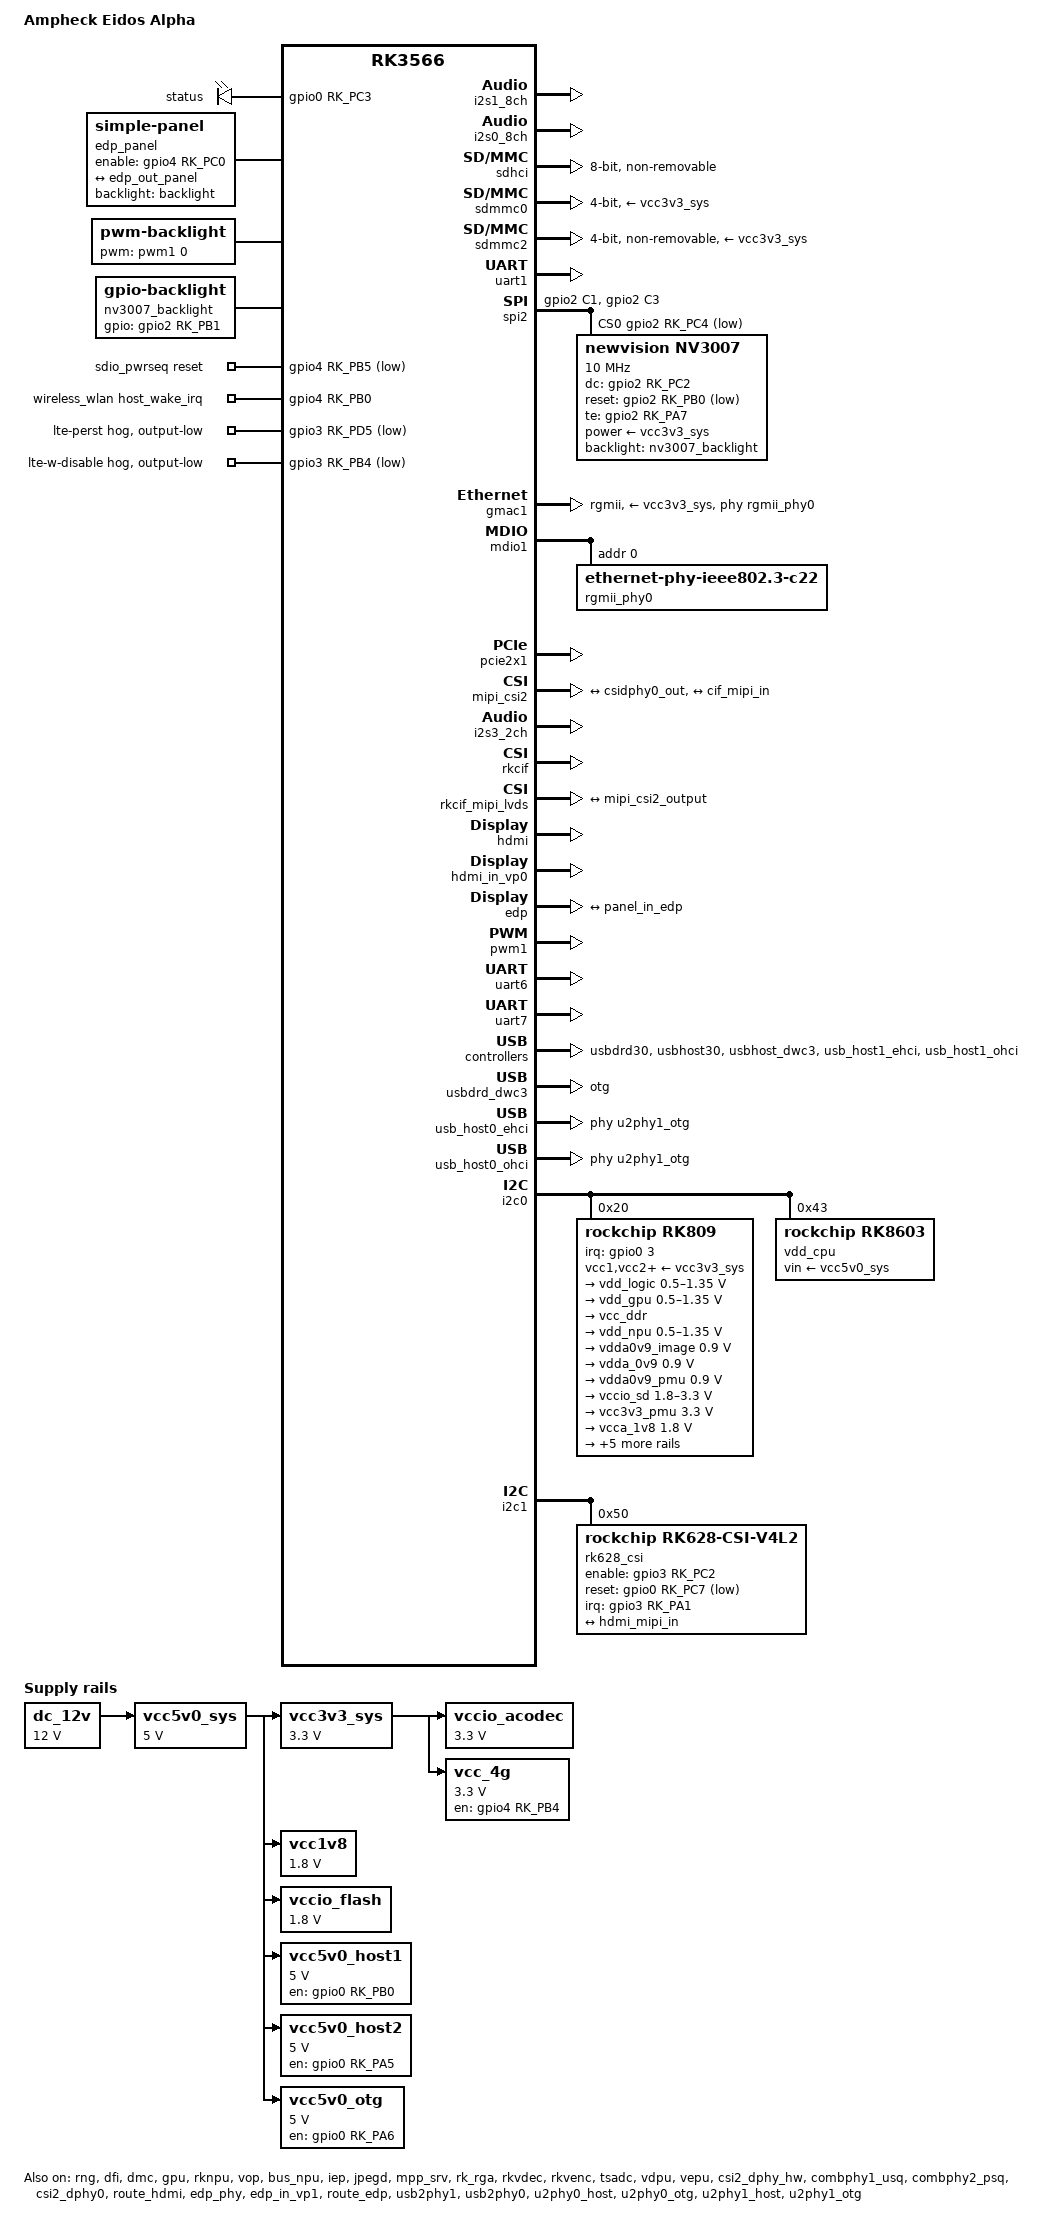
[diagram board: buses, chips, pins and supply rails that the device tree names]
/dts-v1/;

#include <dt-bindings/gpio/gpio.h>
#include <dt-bindings/display/rockchip_vop.h>
#include "rk3566.dtsi"

/ {
	model = "Ampheck Eidos Alpha";
	compatible = "ampheck,eidos-alpha", "rockchip,rk3566";

	leds {
		compatible = "gpio-leds";

		status_led: status-led {
			label = "status";
			gpios = <&gpio0 RK_PC3 GPIO_ACTIVE_HIGH>;
			default-state = "off";
		};
	};

	edp_panel: edp-panel {
		compatible = "simple-panel";
		backlight = <&backlight>;
		enable-gpios = <&gpio4 RK_PC0 GPIO_ACTIVE_HIGH>;
		prepare-delay-ms = <120>;
		enable-delay-ms = <120>;
		unprepare-delay-ms = <120>;
		disable-delay-ms = <120>;
		pinctrl-names = "default";
		pinctrl-0 = <&edp_en_gpio>;

		display-timings {
			native-mode = <&edp_timing0>;

			edp_timing0: timing0 {
				clock-frequency = <149600000>;
				hactive = <1920>;
				vactive = <1080>;
				hfront-porch = <48>;
				hback-porch = <187>;
				hsync-len = <32>;
				vfront-porch = <3>;
				vback-porch = <52>;
				vsync-len = <5>;
				hsync-active = <0>;
				vsync-active = <0>;
				de-active = <1>;
				pixelclk-active = <0>;
			};
		};

		ports {
			#address-cells = <1>;
			#size-cells = <0>;

			port@0 {
				reg = <0>;

				panel_in_edp: endpoint {
					remote-endpoint = <&edp_out_panel>;
				};
			};
		};
	};

	backlight: backlight {
		compatible = "pwm-backlight";
		pwms = <&pwm1 0 25000 0>;
		brightness-levels = <
			  0  20  20  21  21  22  22  23
			 23  24  24  25  25  26  26  27
			 27  28  28  29  29  30  30  31
			 31  32  32  33  33  34  34  35
			 35  36  36  37  37  38  38  39
			 40  41  42  43  44  45  46  47
			 48  49  50  51  52  53  54  55
			 56  57  58  59  60  61  62  63
			 64  65  66  67  68  69  70  71
			 72  73  74  75  76  77  78  79
			 80  81  82  83  84  85  86  87
			 88  89  90  91  92  93  94  95
			 96  97  98  99 100 101 102 103
			104 105 106 107 108 109 110 111
			112 113 114 115 116 117 118 119
			120 121 122 123 124 125 126 127
			128 129 130 131 132 133 134 135
			136 137 138 139 140 141 142 143
			144 145 146 147 148 149 150 151
			152 153 154 155 156 157 158 159
			160 161 162 163 164 165 166 167
			168 169 170 171 172 173 174 175
			176 177 178 179 180 181 182 183
			184 185 186 187 188 189 190 191
			192 193 194 195 196 197 198 199
			200 201 202 203 204 205 206 207
			208 209 210 211 212 213 214 215
			216 217 218 219 220 221 222 223
			224 225 226 227 228 229 230 231
			232 233 234 235 236 237 238 239
			240 241 242 243 244 245 246 247
			248 249 250 251 252 253 254 255
		>;
		default-brightness-level = <200>;
	};

	nv3007_backlight: nv3007-backlight {
		compatible = "gpio-backlight";
		gpios = <&gpio2 RK_PB1 GPIO_ACTIVE_HIGH>;
		default-on;
		pinctrl-names = "default";
		pinctrl-0 = <&backlight_en>;
	};

	rk628_dc: rk628-dc {
		compatible = "rockchip,dummy-codec";
		#sound-dai-cells = <0>;
		status = "okay";
	};

	hdmin_sound: hdmin-sound {
		compatible = "simple-audio-card";
		simple-audio-card,format = "i2s";
		simple-audio-card,name = "rockchip,hdmin";
		simple-audio-card,bitclock-master = <&dailink0_master>;
		simple-audio-card,frame-master = <&dailink0_master>;
		status = "okay";

		simple-audio-card,cpu {
			sound-dai = <&i2s3_2ch>;
		};

		dailink0_master: simple-audio-card,codec {
			sound-dai = <&rk628_dc>;
		};
	};

	hdmi_sound: hdmi-sound {
		compatible = "simple-audio-card";
		simple-audio-card,format = "i2s";
		simple-audio-card,mclk-fs = <128>;
		simple-audio-card,name = "rockchip,hdmi";
		status = "okay";

		simple-audio-card,cpu {
			sound-dai = <&i2s0_8ch>;
		};

		simple-audio-card,codec {
			sound-dai = <&hdmi>;
		};
	};

	sdio_pwrseq: sdio-pwrseq {
		compatible = "mmc-pwrseq-simple";
		clocks = <&rk809 1>;
		clock-names = "ext_clock";
		post-power-on-delay-ms = <200>;
		reset-gpios = <&gpio4 RK_PB5 GPIO_ACTIVE_LOW>;
	};

	wireless_wlan: wireless-wlan {
		compatible = "wlan-platdata";
		rockchip,grf = <&grf>;
		wifi_chip_type = "ap6256";
		pinctrl-names = "default";
		pinctrl-0 = <&wifi_host_wake_irq>;
		WIFI,host_wake_irq = <&gpio4 RK_PB0 GPIO_ACTIVE_HIGH>;
		status = "okay";
	};

	wireless_bluetooth: wireless-bluetooth {
		compatible = "brcm,bcm43430a1-bt";
		clocks = <&rk809 1>;
		clock-names = "ext_clock";
		bt_port = "/dev/ttyS1";
		uart_rts_gpios = <&gpio4 RK_PB6 GPIO_ACTIVE_LOW>;
		pinctrl-names = "default", "rts_gpio";
		pinctrl-0 = <&uart1m1_rtsn>;
		pinctrl-1 = <&uart1_gpios>;
		BT,reset_gpio = <&gpio4 RK_PA6 GPIO_ACTIVE_HIGH>;
		BT,wake_gpio = <&gpio4 RK_PA2 GPIO_ACTIVE_HIGH>;
		BT,wake_host_irq = <&gpio4 RK_PA3 GPIO_ACTIVE_HIGH>;
		status = "disabled";
	};

	chosen {
		stdout-path = "serial2:1500000n8";
		bootargs = "earlycon=uart8250,mmio32,0xfe660000 console=ttyFIQ0,1500000n8 root=PARTUUID=614e0000-0000-4b53-8000-1d28000054a9 rootfstype=ext4 rw rootwait efi=noruntime";
	};

	fiq_debugger: fiq-debugger {
		compatible = "rockchip,fiq-debugger";
		rockchip,serial-id = <2>;
		rockchip,wake-irq = <0>;
		rockchip,irq-mode-enable = <1>;
		rockchip,baudrate = <1500000>;
		interrupts = <GIC_SPI 252 IRQ_TYPE_LEVEL_LOW>;
		pinctrl-names = "default";
		pinctrl-0 = <&uart2m0_xfer>;
		status = "okay";
	};

	debug: debug@fd904000 {
		compatible = "rockchip,debug";
		reg = <0x0 0xfd904000 0x0 0x1000>,
		      <0x0 0xfd905000 0x0 0x1000>,
		      <0x0 0xfd906000 0x0 0x1000>,
		      <0x0 0xfd907000 0x0 0x1000>;
	};

	cspmu: cspmu@fd90c000 {
		compatible = "rockchip,cspmu";
		reg = <0x0 0xfd90c000 0x0 0x1000>,
		      <0x0 0xfd90d000 0x0 0x1000>,
		      <0x0 0xfd90e000 0x0 0x1000>,
		      <0x0 0xfd90f000 0x0 0x1000>;
	};

	dc_12v: dc-12v {
		compatible = "regulator-fixed";
		regulator-name = "dc_12v";
		regulator-min-microvolt = <12000000>;
		regulator-max-microvolt = <12000000>;
		regulator-always-on;
		regulator-boot-on;
	};

	vcc5v0_sys: vcc5v0-sys {
		compatible = "regulator-fixed";
		regulator-name = "vcc5v0_sys";
		regulator-min-microvolt = <5000000>;
		regulator-max-microvolt = <5000000>;
		regulator-always-on;
		regulator-boot-on;
		vin-supply = <&dc_12v>;
	};

	vcc3v3_sys: vcc3v3-sys {
		compatible = "regulator-fixed";
		regulator-name = "vcc3v3_sys";
		regulator-min-microvolt = <3300000>;
		regulator-max-microvolt = <3300000>;
		regulator-always-on;
		regulator-boot-on;
		vin-supply = <&vcc5v0_sys>;
	};

	vcc1v8: vcc1v8 {
		compatible = "regulator-fixed";
		regulator-name = "vcc1v8";
		regulator-min-microvolt = <1800000>;
		regulator-max-microvolt = <1800000>;
		regulator-always-on;
		regulator-boot-on;
		vin-supply = <&vcc5v0_sys>;
	};

	vccio_acodec: vccio-acodec {
		compatible = "regulator-fixed";
		regulator-name = "vccio_acodec";
		regulator-min-microvolt = <3300000>;
		regulator-max-microvolt = <3300000>;
		regulator-always-on;
		regulator-boot-on;
		vin-supply = <&vcc3v3_sys>;
	};

	vccio_flash: vccio-flash {
		compatible = "regulator-fixed";
		regulator-name = "vccio_flash";
		regulator-min-microvolt = <1800000>;
		regulator-max-microvolt = <1800000>;
		regulator-always-on;
		regulator-boot-on;
		vin-supply = <&vcc5v0_sys>;
	};

	vcc5v0_host1: vcc5v0-host1 {
		compatible = "regulator-fixed";
		regulator-name = "vcc5v0_host1";
		regulator-min-microvolt = <5000000>;
		regulator-max-microvolt = <5000000>;
		regulator-boot-on;
		enable-active-high;
		gpio = <&gpio0 RK_PB0 GPIO_ACTIVE_HIGH>;
		vin-supply = <&vcc5v0_sys>;
		pinctrl-names = "default";
		pinctrl-0 = <&host1_pwr_en>;
	};

	vcc5v0_host2: vcc5v0-host2 {
		compatible = "regulator-fixed";
		regulator-name = "vcc5v0_host2";
		regulator-min-microvolt = <5000000>;
		regulator-max-microvolt = <5000000>;
		regulator-boot-on;
		enable-active-high;
		gpio = <&gpio0 RK_PA5 GPIO_ACTIVE_HIGH>;
		vin-supply = <&vcc5v0_sys>;
		pinctrl-names = "default";
		pinctrl-0 = <&host2_pwr_en>;
	};

	vcc5v0_otg: vcc5v0-otg {
		compatible = "regulator-fixed";
		regulator-name = "vcc5v0_otg";
		regulator-min-microvolt = <5000000>;
		regulator-max-microvolt = <5000000>;
		enable-active-high;
		gpio = <&gpio0 RK_PA6 GPIO_ACTIVE_HIGH>;
		vin-supply = <&vcc5v0_sys>;
		pinctrl-names = "default";
		pinctrl-0 = <&otg_pwr_en>;
	};

	/* EC20/4G module slot power enable, GPIO4_B4 active high. */
	vcc_4g: vcc-4g {
		compatible = "regulator-fixed";
		regulator-name = "vcc_4g";
		regulator-min-microvolt = <3300000>;
		regulator-max-microvolt = <3300000>;
		regulator-always-on;
		regulator-boot-on;
		startup-delay-us = <500000>;
		gpio = <&gpio4 RK_PB4 GPIO_ACTIVE_HIGH>;
		enable-active-high;
		vin-supply = <&vcc3v3_sys>;
		pinctrl-names = "default";
		pinctrl-0 = <&lte_pwr_en>;
	};

	rk809_sound: rk809-sound {
		compatible = "simple-audio-card";
		simple-audio-card,name = "rockchip-rk809";
		simple-audio-card,format = "i2s";
		simple-audio-card,mclk-fs = <256>;

		simple-audio-card,cpu {
			sound-dai = <&i2s1_8ch>;
		};

		simple-audio-card,codec {
			sound-dai = <&rk809_codec>;
		};
	};
};

/* Console and audio. */
&uart2 {
	/* UART2 is owned by the FIQ debugger. */
	status = "disabled";
};

&i2s1_8ch {
	status = "okay";
	rockchip,clk-trcm = <1>;
	pinctrl-names = "default";
	pinctrl-0 = <&i2s1m0_sclktx>, <&i2s1m0_lrcktx>,
			     <&i2s1m0_sdi0>, <&i2s1m0_sdo0>;
};

&i2s0_8ch {
	status = "okay";
};

&rng {
	status = "okay";
};

&dfi {
	status = "okay";
};

&dmc {
	center-supply = <&vdd_logic>;
	status = "okay";
};

&gpu {
	mali-supply = <&vdd_gpu>;
	status = "okay";
};

&gpu_power_model {
	compatible = "simple-power-model", "arm,mali-simple-power-model";
};

&rknpu {
	rknpu-supply = <&vdd_npu>;
	interrupt-names = "npu_irq";
	status = "okay";
};

/*
 * RK3566 has no independently controllable NPU IOMMU power/interrupt in
 * the RK3568 PM domain map.  Open the MMU node only on SoCs that provide it.
 */
&rknpu_mmu {
	status = "disabled";
};

&rockchip_suspend {
	status = "okay";
};

/* SoC, power and display pipeline. */
&vop {
	status = "okay";
	assigned-clocks = <&cru DCLK_VOP0>, <&cru DCLK_VOP1>;
	assigned-clock-parents = <&pmucru PLL_HPLL>, <&cru PLL_VPLL>;
};


&vop_mmu {
	status = "okay";
};

&vp0 {
	rockchip,plane-mask = <(1 << ROCKCHIP_VOP2_CLUSTER0 |
				1 << ROCKCHIP_VOP2_ESMART0 |
				1 << ROCKCHIP_VOP2_SMART0)>;
	rockchip,primary-plane = <ROCKCHIP_VOP2_SMART0>;
	cursor-win-id = <ROCKCHIP_VOP2_CLUSTER0>;
};

&vp1 {
	rockchip,plane-mask = <(1 << ROCKCHIP_VOP2_CLUSTER1 |
				1 << ROCKCHIP_VOP2_ESMART1 |
				1 << ROCKCHIP_VOP2_SMART1)>;
	rockchip,primary-plane = <ROCKCHIP_VOP2_SMART1>;
	cursor-win-id = <ROCKCHIP_VOP2_CLUSTER1>;
};

&bus_npu {
	bus-supply = <&vdd_npu>;
	pvtm-supply = <&vdd_cpu>;
	status = "okay";
};

&sdhci {
	/* The system rootfs is stored on the onboard eMMC. */
	pinctrl-names = "default";
	pinctrl-0 = <&emmc_bus8>, <&emmc_clk>, <&emmc_cmd>;
	bus-width = <8>;
	no-sdio;
	no-sd;
	non-removable;
	mmc-hs200-1_8v;
	status = "okay";
};

/* Image and video accelerators. */
&iep {
	status = "okay";
};

&iep_mmu {
	status = "okay";
};

&jpegd {
	status = "okay";
};

&jpegd_mmu {
	status = "okay";
};

&mpp_srv {
	status = "okay";
};

&rk_rga {
	status = "okay";
};

&rkvdec {
	status = "okay";
};

&rkvdec_mmu {
	status = "okay";
};

&rkvenc {
	venc-supply = <&vdd_logic>;
	status = "okay";
};

&rkvenc_mmu {
	status = "okay";
};

/* Thermal monitoring. */
&tsadc {
	status = "okay";
};

&vdpu {
	status = "okay";
};

&vdpu_mmu {
	status = "okay";
};

&vepu {
	status = "okay";
};

&vepu_mmu {
	status = "okay";
};

&sdmmc0 {
	bus-width = <4>;
	cap-sd-highspeed;
	disable-wp;
	pinctrl-names = "default";
	pinctrl-0 = <&sdmmc0_bus4>, <&sdmmc0_clk>, <&sdmmc0_cmd>,
			     <&sdmmc0_det>;
	vmmc-supply = <&vcc3v3_sys>;
	status = "okay";
};

/* AP6256 Wi-Fi is connected through the SDIO2 interface. */
&sdmmc2 {
	mmc-pwrseq = <&sdio_pwrseq>;
	max-frequency = <150000000>;
	no-sd;
	no-mmc;
	bus-width = <4>;
	disable-wp;
	cap-sdio-irq;
	keep-power-in-suspend;
	non-removable;
	sd-uhs-sdr104;
	pinctrl-names = "default";
	pinctrl-0 = <&sdmmc2m0_bus4 &sdmmc2m0_cmd &sdmmc2m0_clk>;
	vmmc-supply = <&vcc3v3_sys>;
	vqmmc-supply = <&vccio_sd>;
	status = "okay";
};

&uart1 {
	pinctrl-names = "default";
	pinctrl-0 = <&uart1m1_xfer &uart1m1_ctsn &uart1m1_rtsn>;
	uart-has-rtscts;
	status = "okay";
};

&uart9 {
	status = "disabled";
};

&i2c4 {
	status = "disabled";
};

/*
 * Both EC20 control signals are active low. Drive them physically high to
 * release PERST# and keep the module enabled through W_DISABLE#.
 */
&gpio3 {
	lte_perst_hog: lte-perst-hog {
		gpio-hog;
		gpios = <RK_PD5 GPIO_ACTIVE_LOW>;
		output-low;
		line-name = "lte-perst";
	};

	lte_w_disable_hog: lte-w-disable-hog {
		gpio-hog;
		gpios = <RK_PB4 GPIO_ACTIVE_LOW>;
		output-low;
		line-name = "lte-w-disable";
	};
};

&spi2 {
	num-cs = <1>;
	cs-gpios = <&gpio2 RK_PC4 GPIO_ACTIVE_LOW>;
	pinctrl-names = "default", "high_speed";
	pinctrl-0 = <&spi2m0_display_pins>;
	pinctrl-1 = <&spi2m0_display_pins_hs>;
	status = "okay";

	nv3007: panel@0 {
		compatible = "newvision,nv3007";
		reg = <0>;
		spi-max-frequency = <10000000>;
		spi-cpol;
		spi-cpha;
		dc-gpios = <&gpio2 RK_PC2 GPIO_ACTIVE_HIGH>;
		reset-gpios = <&gpio2 RK_PB0 GPIO_ACTIVE_LOW>;
		te-gpios = <&gpio2 RK_PA7 GPIO_ACTIVE_HIGH>;
		backlight = <&nv3007_backlight>;
		power-supply = <&vcc3v3_sys>;
		pinctrl-names = "default";
		pinctrl-0 = <&nv3007_pins>;
		rotation = <0>;
		x-offset = <12>;
		y-offset = <0>;
	};
};

&gmac1 {
	phy-mode = "rgmii";
	clock_in_out = "output";
	phy-supply = <&vcc3v3_sys>;
	pinctrl-names = "default";
	pinctrl-0 = <&gmac1m0_miim>, <&gmac1m0_tx_bus2>,
			     <&gmac1m0_rx_bus2>, <&gmac1m0_rgmii_clk>,
			     <&gmac1m0_rgmii_bus>;
	tx_delay = <0x4c>;
	rx_delay = <0x2d>;
	phy-handle = <&rgmii_phy0>;
	status = "okay";
};

&pmu_io_domains {
	status = "okay";
	pmuio2-supply = <&vcc3v3_sys>;
	vccio1-supply = <&vccio_acodec>;
	vccio3-supply = <&vccio_sd>;
	vccio4-supply = <&vcc1v8>;
	vccio5-supply = <&vcc3v3_sys>;
	vccio6-supply = <&vcc1v8>;
	vccio7-supply = <&vcc3v3_sys>;
};

&mdio1 {
	rgmii_phy0: phy@0 {
		compatible = "ethernet-phy-ieee802.3-c22";
		reg = <0>;

		/*
		 * LED0: ACT + 10M (keep reset default)
		 * LED1: green, link/activity at 10/100/1000M
		 * LED2: yellow, 1000M link only
		 */
		realtek,led-data = <0x2371>;
	};
};

&csi2_dphy_hw {
	status = "okay";
};

&combphy1_usq {
	status = "okay";
};

&combphy2_psq {
	status = "okay";
};

/* OCuLink carries a generic PCIe endpoint; do not bind a device type here. */
&pcie2x1 {
	status = "okay";
};

&csi2_dphy0 {
	status = "okay";

	ports {
		#address-cells = <1>;
		#size-cells = <0>;

		port@0 {
			reg = <0>;
			#address-cells = <1>;
			#size-cells = <0>;

			hdmi_mipi_in: endpoint@0 {
				reg = <0>;
				remote-endpoint = <&rk628_csi_out>;
				data-lanes = <1 2 3 4>;
			};
		};

		port@1 {
			reg = <1>;
			#address-cells = <1>;
			#size-cells = <0>;

			csidphy0_out: endpoint@0 {
				reg = <0>;
				remote-endpoint = <&mipi_csi2_input>;
				data-lanes = <1 2 3 4>;
			};
		};
	};
};

&mipi_csi2 {
	status = "okay";

	ports {
		#address-cells = <1>;
		#size-cells = <0>;

		port@0 {
			reg = <0>;
			#address-cells = <1>;
			#size-cells = <0>;

			mipi_csi2_input: endpoint@1 {
				reg = <1>;
				remote-endpoint = <&csidphy0_out>;
				data-lanes = <1 2 3 4>;
			};
		};

		port@1 {
			reg = <1>;
			#address-cells = <1>;
			#size-cells = <0>;

			mipi_csi2_output: endpoint@0 {
				reg = <0>;
				remote-endpoint = <&cif_mipi_in>;
				data-lanes = <1 2 3 4>;
			};
		};
	};
};

&i2s3_2ch {
	rockchip,capture-only;
	pinctrl-names = "default";
	pinctrl-0 = <&i2s3m1_sclk>, <&i2s3m1_lrck>,
		     <&i2s3m1_sdi>;
	status = "okay";
};

&rkcif {
	status = "okay";
};

&rkcif_mipi_lvds {
	status = "okay";

	port {
		cif_mipi_in: endpoint {
			remote-endpoint = <&mipi_csi2_output>;
			data-lanes = <1 2 3 4>;
		};
	};
};

&rkcif_mmu {
	status = "okay";
};

&csi2_dphy1 {
	status = "disabled";
};

&csi2_dphy2 {
	status = "disabled";
};

&rkisp {
	status = "disabled";
};

&rkisp_mmu {
	status = "disabled";
};

&rkisp_vir0 {
	status = "disabled";
};

&hdmi {
	status = "okay";
	rockchip,phy-table =
		<92812500  0x8009 0x0000 0x0270>,
		<165000000 0x800b 0x0000 0x026d>,
		<185625000 0x800b 0x0000 0x01ed>,
		<297000000 0x800b 0x0000 0x01ad>,
		<594000000 0x8029 0x0000 0x0088>,
		<000000000 0x0000 0x0000 0x0000>;
};

&hdmi_in_vp0 {
	status = "okay";
};

&hdmi_in_vp1 {
	status = "disabled";
};

&hdmi_sound {
	status = "okay";
};

&route_hdmi {
	status = "okay";
	connect = <&vp0_out_hdmi>;
};

&edp {
	status = "okay";
	force-hpd;

	ports {
		#address-cells = <1>;
		#size-cells = <0>;

		edp_out: port@1 {
			reg = <1>;
			#address-cells = <1>;
			#size-cells = <0>;

			edp_out_panel: endpoint@0 {
				reg = <0>;
				remote-endpoint = <&panel_in_edp>;
			};
		};
	};
};

&edp_phy {
	status = "okay";
};

&edp_in_vp0 {
	status = "disabled";
};

&edp_in_vp1 {
	status = "okay";
};

&route_edp {
	status = "okay";
	connect = <&vp1_out_edp>;
};

&pwm1 {
	status = "okay";
};

&uart6 {
	pinctrl-names = "default";
	pinctrl-0 = <&uart6m0_xfer>;
	rs485-de-gpios = <&gpio0 RK_PD4 GPIO_ACTIVE_HIGH>;
	linux,rs485-enabled-at-boot-time;
	status = "okay";
};

&uart7 {
	pinctrl-names = "default";
	pinctrl-0 = <&uart7m0_xfer>;
	status = "okay";
};

/* USB 2.0 host ports. VBUS control is board-specific and is left external. */
&usb2phy1 {
	status = "okay";
};

&usb2phy0 {
	status = "okay";
};

&u2phy0_host {
	phy-supply = <&vcc5v0_host1>;
	status = "okay";
};

&u2phy0_otg {
	vbus-supply = <&vcc5v0_otg>;
	status = "okay";
};

&usbdrd30 {
	status = "okay";
};

&usbdrd_dwc3 {
	dr_mode = "otg";
	extcon = <&usb2phy0>;
	status = "okay";
};

&usbhost30 {
	status = "okay";
};

&usbhost_dwc3 {
	status = "okay";
};

&u2phy1_host {
	phy-supply = <&vcc5v0_sys>;
	status = "okay";
};

&u2phy1_otg {
	phy-supply = <&vcc5v0_host2>;
	status = "okay";
};

&usb_host0_ehci {
	phys = <&u2phy1_otg>;
	status = "okay";
};

&usb_host0_ohci {
	phys = <&u2phy1_otg>;
	status = "okay";
};

&usb_host1_ehci {
	status = "okay";
};

&usb_host1_ohci {
	status = "okay";
};

/* Board I2C devices. */
&i2c0 {
	status = "okay";

	rk809: pmic@20 {
		compatible = "rockchip,rk809";
		reg = <0x20>;
		interrupt-parent = <&gpio0>;
		interrupts = <3 IRQ_TYPE_LEVEL_LOW>;
		pinctrl-names = "default", "pmic-sleep",
				"pmic-power-off", "pmic-reset";
		pinctrl-0 = <&pmic_int>;
		pinctrl-1 = <&soc_slppin_slp>, <&rk817_slppin_slp>;
		pinctrl-2 = <&soc_slppin_gpio>, <&rk817_slppin_pwrdn>;
		pinctrl-3 = <&soc_slppin_gpio>, <&rk817_slppin_rst>;
		rockchip,system-power-controller;
		wakeup-source;
		#clock-cells = <1>;
		clock-output-names = "rk809-clkout1", "rk809-clkout2";

		vcc1-supply = <&vcc3v3_sys>;
		vcc2-supply = <&vcc3v3_sys>;
		vcc3-supply = <&vcc3v3_sys>;
		vcc4-supply = <&vcc3v3_sys>;
		vcc5-supply = <&vcc3v3_sys>;
		vcc6-supply = <&vcc3v3_sys>;
		vcc7-supply = <&vcc3v3_sys>;
		vcc8-supply = <&vcc3v3_sys>;
		vcc9-supply = <&vcc3v3_sys>;

		pwrkey {
			status = "okay";
		};

		rk809_codec: codec {
			#sound-dai-cells = <0>;
			compatible = "rockchip,rk809-codec", "rockchip,rk817-codec";
			clocks = <&cru I2S1_MCLKOUT>;
			clock-names = "mclk";
			assigned-clocks = <&cru I2S1_MCLKOUT>,
					  <&cru I2S1_MCLK_TX_IOE>;
			assigned-clock-rates = <12288000>;
			assigned-clock-parents = <&cru I2S1_MCLKOUT_TX>,
						<&cru I2S1_MCLKOUT_TX>;
			pinctrl-names = "default";
			pinctrl-0 = <&i2s1m0_mclk>;
			hp-volume = <20>;
			spk-volume = <3>;
			mic-in-differential;
			status = "okay";
		};

		pinctrl_rk8xx: pinctrl-rk8xx {
			gpio-controller;
			#gpio-cells = <2>;

			rk817_slppin_slp: rk817-slppin-slp {
				pins = "gpio_slp";
				function = "pin_fun1";
			};

			rk817_slppin_pwrdn: rk817-slppin-pwrdn {
				pins = "gpio_slp";
				function = "pin_fun2";
			};

			rk817_slppin_rst: rk817-slppin-rst {
				pins = "gpio_slp";
				function = "pin_fun3";
			};
		};

		regulators {
			vdd_logic: DCDC_REG1 {
				regulator-name = "vdd_logic";
				regulator-min-microvolt = <500000>;
				regulator-max-microvolt = <1350000>;
				regulator-init-microvolt = <900000>;
				regulator-ramp-delay = <6001>;
				regulator-initial-mode = <0x2>;
				regulator-boot-on;
				regulator-always-on;
			};

			vdd_gpu: DCDC_REG2 {
				regulator-name = "vdd_gpu";
				regulator-min-microvolt = <500000>;
				regulator-max-microvolt = <1350000>;
				regulator-init-microvolt = <900000>;
				regulator-ramp-delay = <6001>;
				regulator-initial-mode = <0x2>;
				regulator-boot-on;
				regulator-always-on;
			};

			vcc_ddr: DCDC_REG3 {
				regulator-name = "vcc_ddr";
				regulator-boot-on;
				regulator-always-on;
				regulator-initial-mode = <0x2>;
			};

			vdd_npu: DCDC_REG4 {
				regulator-name = "vdd_npu";
				regulator-min-microvolt = <500000>;
				regulator-max-microvolt = <1350000>;
				regulator-init-microvolt = <900000>;
				regulator-ramp-delay = <6001>;
				regulator-initial-mode = <0x2>;
				regulator-boot-on;
				regulator-always-on;
			};

			vdda0v9_image: LDO_REG1 {
				regulator-name = "vdda0v9_image";
				regulator-min-microvolt = <900000>;
				regulator-max-microvolt = <900000>;
				regulator-boot-on;
				regulator-always-on;
			};

			vdda_0v9: LDO_REG2 {
				regulator-name = "vdda_0v9";
				regulator-min-microvolt = <900000>;
				regulator-max-microvolt = <900000>;
				regulator-boot-on;
				regulator-always-on;
			};

			vdda0v9_pmu: LDO_REG3 {
				regulator-name = "vdda0v9_pmu";
				regulator-min-microvolt = <900000>;
				regulator-max-microvolt = <900000>;
				regulator-boot-on;
				regulator-always-on;
			};

			vccio_sd: LDO_REG5 {
				regulator-name = "vccio_sd";
				regulator-min-microvolt = <1800000>;
				regulator-max-microvolt = <3300000>;
				regulator-boot-on;
				regulator-always-on;
			};

			vcc3v3_pmu: LDO_REG6 {
				regulator-name = "vcc3v3_pmu";
				regulator-min-microvolt = <3300000>;
				regulator-max-microvolt = <3300000>;
				regulator-boot-on;
				regulator-always-on;
			};

			vcca_1v8: LDO_REG7 {
				regulator-name = "vcca_1v8";
				regulator-min-microvolt = <1800000>;
				regulator-max-microvolt = <1800000>;
				regulator-boot-on;
				regulator-always-on;
			};

			vcca1v8_pmu: LDO_REG8 {
				regulator-name = "vcca1v8_pmu";
				regulator-min-microvolt = <1800000>;
				regulator-max-microvolt = <1800000>;
				regulator-boot-on;
				regulator-always-on;
			};

			vcca1v8_image: LDO_REG9 {
				regulator-name = "vcca1v8_image";
				regulator-min-microvolt = <1800000>;
				regulator-max-microvolt = <1800000>;
				regulator-boot-on;
				regulator-always-on;
			};

			vcc_1v8: DCDC_REG5 {
				regulator-name = "vcc_1v8";
				regulator-min-microvolt = <1800000>;
				regulator-max-microvolt = <1800000>;
				regulator-boot-on;
				regulator-always-on;
			};

			vcc_3v3: SWITCH_REG1 {
				regulator-name = "vcc_3v3";
				regulator-boot-on;
				regulator-always-on;
			};

			vcc3v3_sd: SWITCH_REG2 {
				regulator-name = "vcc3v3_sd";
				regulator-boot-on;
				regulator-always-on;
			};
		};
	};

	vdd_cpu: rk8603@43 {
		compatible = "rockchip,rk8603";
		reg = <0x43>;
		vin-supply = <&vcc5v0_sys>;
		regulator-compatible = "rk860x-reg";
		regulator-name = "vdd_cpu";
		regulator-min-microvolt = <712500>;
		regulator-max-microvolt = <1390000>;
		regulator-init-microvolt = <900000>;
		regulator-ramp-delay = <2300>;
		rockchip,suspend-voltage-selector = <1>;
		regulator-boot-on;
		regulator-always-on;
	};
};

&i2c1 {
	status = "okay";
	pinctrl-names = "default";
	pinctrl-0 = <&i2c1_xfer>;

	/* RK628 HDMI-RX to MIPI-CSI bridge. */
	rk628_csi: rk628-csi@50 {
		compatible = "rockchip,rk628-csi-v4l2";
		reg = <0x50>;
		#sound-dai-cells = <0>;
		status = "okay";
		power-domains = <&power RK3568_PD_VI>;
		continues-clk = <1>;
		interrupt-parent = <&gpio3>;
		interrupts = <RK_PA1 IRQ_TYPE_LEVEL_HIGH>;
		enable-gpios = <&gpio3 RK_PC2 GPIO_ACTIVE_HIGH>;
		reset-gpios = <&gpio0 RK_PC7 GPIO_ACTIVE_LOW>;
		i2s-enable-default;
		pinctrl-names = "default";
		pinctrl-0 = <&rk628_hdmirx_gpios>;

		rockchip,camera-module-index = <1>;
		rockchip,camera-module-facing = "back";
		rockchip,camera-module-name = "HDMI-MIPI";
		rockchip,camera-module-lens-name = "RK628-CSI";

		port {
			rk628_csi_out: endpoint {
				remote-endpoint = <&hdmi_mipi_in>;
				data-lanes = <1 2 3 4>;
			};
		};
	};
};

/* i2c5 shares the HDMI/GMAC pin group on this board and stays unused. */
&i2c5 {
	status = "disabled";
};

/* Board-specific pin groups. */
&pinctrl {
	nv3007 {
		spi2m0_display_pins: spi2m0-display-pins {
			rockchip,pins =
				/* spi2_clkm0 */
				<2 RK_PC1 4 &pcfg_pull_none>,
				/* spi2_mosim0 */
				<2 RK_PC3 4 &pcfg_pull_none>;
		};

		spi2m0_display_pins_hs: spi2m0-display-pins-hs {
			rockchip,pins =
				/* spi2_clkm0 */
				<2 RK_PC1 4 &pcfg_pull_up_drv_level_1>,
				/* spi2_mosim0 */
				<2 RK_PC3 4 &pcfg_pull_up_drv_level_1>;
		};

		nv3007_pins: nv3007-pins {
			rockchip,pins =
				/* RS / D-C */
				<2 RK_PC2 RK_FUNC_GPIO &pcfg_pull_none>,
				/* RESET */
				<2 RK_PB0 RK_FUNC_GPIO &pcfg_pull_up>,
				/* TE */
				<2 RK_PA7 RK_FUNC_GPIO &pcfg_pull_up>;
		};

		backlight_en: backlight-en {
			rockchip,pins =
				/* LEDK enable */
				<2 RK_PB1 RK_FUNC_GPIO &pcfg_pull_down>;
		};
	};

	edp {
		edp_en_gpio: edp-en-gpio {
			rockchip,pins = <4 RK_PC0 RK_FUNC_GPIO &pcfg_pull_none>;
		};
	};

	rk628 {
		rk628_hdmirx_gpios: rk628-hdmirx-gpios {
			rockchip,pins = <0 RK_PC7 RK_FUNC_GPIO &pcfg_pull_up>,
					<3 RK_PA1 RK_FUNC_GPIO &pcfg_pull_down>,
					<3 RK_PC2 RK_FUNC_GPIO &pcfg_output_high>;
		};
	};

	wireless-wlan {
		wifi_host_wake_irq: wifi-host-wake-irq {
			rockchip,pins = <4 RK_PB0 RK_FUNC_GPIO &pcfg_pull_down>;
		};
	};

	wireless-bluetooth {
		uart1_gpios: uart1-gpios {
			rockchip,pins = <4 RK_PB6 RK_FUNC_GPIO &pcfg_pull_none>;
		};
	};

	headphone {
		hp_det: hp-det {
			rockchip,pins = <0 RK_PD3 RK_FUNC_GPIO &pcfg_pull_up>;
		};
	};

	usb {
		host1_pwr_en: host1-pwr-en {
			rockchip,pins = <0 RK_PB0 RK_FUNC_GPIO &pcfg_pull_none>;
		};

		host2_pwr_en: host2-pwr-en {
			rockchip,pins = <0 RK_PA5 RK_FUNC_GPIO &pcfg_pull_none>;
		};

		otg_pwr_en: otg-pwr-en {
			rockchip,pins = <0 RK_PA6 RK_FUNC_GPIO &pcfg_pull_none>;
		};
	};

	lte {
		lte_pwr_en: lte-pwr-en {
			rockchip,pins = <4 RK_PB4 RK_FUNC_GPIO
				&pcfg_pull_down>;
		};
	};

	pmic {
		pmic_int: pmic-int {
			rockchip,pins = <0 RK_PA3 RK_FUNC_GPIO &pcfg_pull_up>;
		};

		soc_slppin_gpio: soc-slppin-gpio {
			rockchip,pins = <0 RK_PA2 RK_FUNC_GPIO
				&pcfg_output_low_pull_down>;
		};

		soc_slppin_slp: soc-slppin-slp {
			rockchip,pins = <0 RK_PA2 1 &pcfg_pull_up>;
		};

		soc_slppin_rst: soc-slppin-rst {
			rockchip,pins = <0 RK_PA2 2 &pcfg_pull_none>;
		};
	};
};

&cpu0 {
	cpu-supply = <&vdd_cpu>;
};

&cpu1 {
	cpu-supply = <&vdd_cpu>;
};

&cpu2 {
	cpu-supply = <&vdd_cpu>;
};

&cpu3 {
	cpu-supply = <&vdd_cpu>;
};
